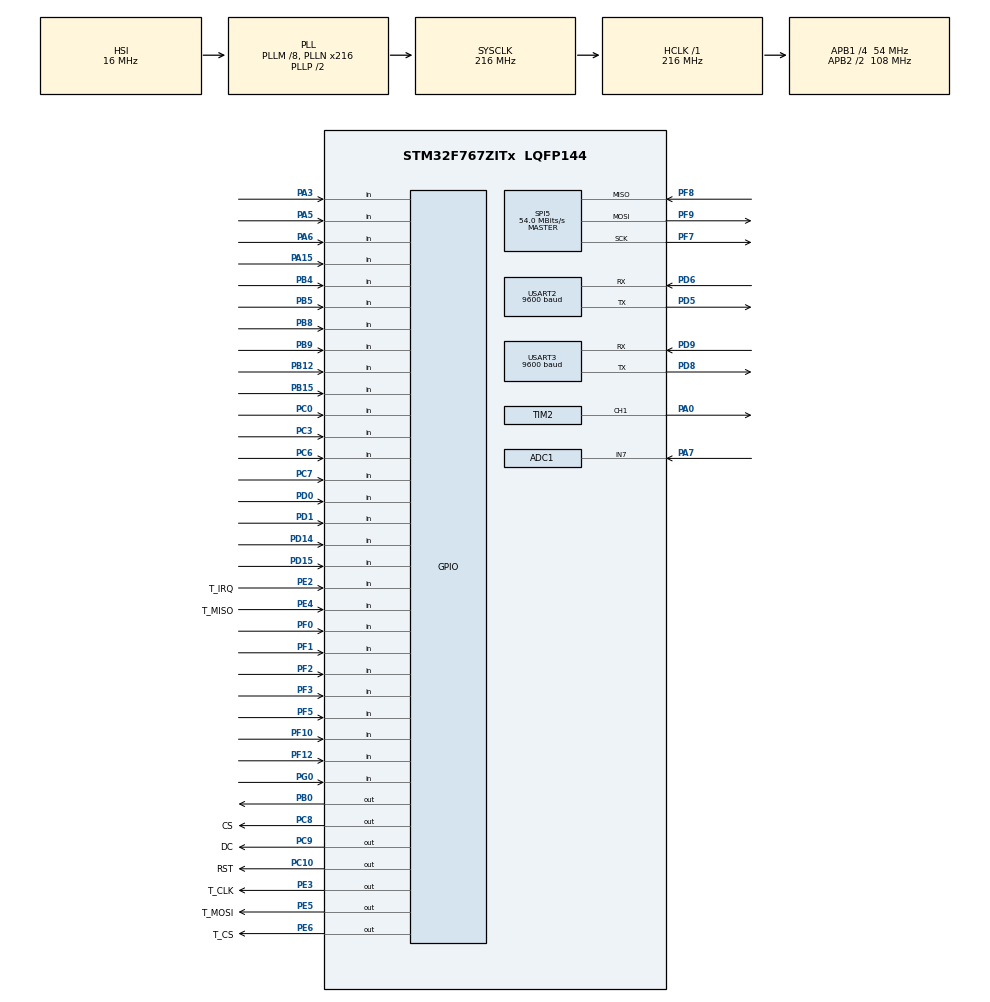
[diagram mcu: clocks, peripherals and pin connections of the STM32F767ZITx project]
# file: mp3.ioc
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ADC1.Channel-1\#ChannelRegularConversion=ADC_CHANNEL_7
ADC1.EOCSelection=ADC_EOC_SEQ_CONV
ADC1.NbrOfConversionFlag=1
ADC1.Rank-1\#ChannelRegularConversion=1
ADC1.SamplingTime-1\#ChannelRegularConversion=ADC_SAMPLETIME_3CYCLES
ADC1.master=1
CORTEX_M7.default_mode_Activation=1
Mcu.Family=STM32F7
Mcu.Name=STM32F767ZITx
Mcu.Package=LQFP144
NVIC.PriorityGroup=NVIC_PRIORITYGROUP_2
NVIC.USART2_IRQn=true\:3\:0\:true\:false\:true\:true\:true\:true
NVIC.USART3_IRQn=true\:0\:0\:false\:false\:true\:true\:true\:true
PA0/WKUP.Signal=S_TIM2_CH1_ETR
PA15.Signal=GPIO_Input
PA3.GPIO_PuPd=GPIO_NOPULL
PA3.Signal=GPIO_Input
PA5.Signal=GPIO_Input
PA6.Signal=GPIO_Input
PA7.Signal=ADCx_IN7
PB0.Signal=GPIO_Output
PB12.Signal=GPIO_Input
PB15.Signal=GPIO_Input
PB4.Signal=GPIO_Input
PB5.Signal=GPIO_Input
PB8.Signal=GPIO_Input
PB9.Signal=GPIO_Input
PC0.Signal=GPIO_Input
PC10.GPIO_Label=RST
PC10.Signal=GPIO_Output
PC3.Signal=GPIO_Input
PC6.Signal=GPIO_Input
PC7.Signal=GPIO_Input
PC8.GPIO_Label=CS
PC8.Signal=GPIO_Output
PC9.GPIO_Label=DC
PC9.Signal=GPIO_Output
PD0.Signal=GPIO_Input
PD1.Signal=GPIO_Input
PD14.Signal=GPIO_Input
PD15.Signal=GPIO_Input
PD5.Mode=Asynchronous
PD5.Signal=USART2_TX
PD6.Mode=Asynchronous
PD6.Signal=USART2_RX
PD8.Mode=Asynchronous
PD8.Signal=USART3_TX
PD9.Mode=Asynchronous
PD9.Signal=USART3_RX
PE2.GPIO_Label=T_IRQ
PE2.Signal=GPIO_Input
PE3.GPIO_Label=T_CLK
PE3.Signal=GPIO_Output
PE4.GPIO_Label=T_MISO
PE4.Signal=GPIO_Input
PE5.GPIO_Label=T_MOSI
PE5.Signal=GPIO_Output
PE6.GPIO_Label=T_CS
PE6.Signal=GPIO_Output
PF0.Signal=GPIO_Input
PF1.Signal=GPIO_Input
PF10.Signal=GPIO_Input
PF12.Signal=GPIO_Input
PF2.Signal=GPIO_Input
PF3.Signal=GPIO_Input
PF5.Signal=GPIO_Input
PF7.Mode=Full_Duplex_Master
PF7.Signal=SPI5_SCK
PF8.Mode=Full_Duplex_Master
PF8.Signal=SPI5_MISO
PF9.Mode=Full_Duplex_Master
PF9.Signal=SPI5_MOSI
PG0.Signal=GPIO_Input
ProjectManager.HeapSize=0x200
ProjectManager.StackSize=0x400
ProjectManager.TargetToolchain=STM32CubeIDE
RCC.AHBFreq_Value=216000000
RCC.APB1CLKDivider=RCC_HCLK_DIV4
RCC.APB1Freq_Value=54000000
RCC.APB1TimFreq_Value=108000000
RCC.APB2CLKDivider=RCC_HCLK_DIV2
RCC.APB2Freq_Value=108000000
RCC.APB2TimFreq_Value=216000000
RCC.CortexFreq_Value=216000000
RCC.HCLKFreq_Value=216000000
RCC.HSE_VALUE=25000000
RCC.HSI_VALUE=16000000
RCC.LSE_VALUE=32768
RCC.PLLM=8
RCC.PLLN=216
RCC.SYSCLKFreq_VALUE=216000000
RCC.SYSCLKSource=RCC_SYSCLKSOURCE_PLLCLK
RCC.USBFreq_Value=216000000
RCC.VCOOutputFreq_Value=432000000
SH.ADCx_IN7.0=ADC1_IN7,IN7
SH.S_TIM2_CH1_ETR.0=TIM2_CH1,PWM Generation1 CH1
SPI5.CalculateBaudRate=54.0 MBits/s
SPI5.DataSize=SPI_DATASIZE_8BIT
SPI5.Direction=SPI_DIRECTION_2LINES
SPI5.Mode=SPI_MODE_MASTER
SPI5.VirtualType=VM_MASTER
TIM1.ClockDivision=TIM_CLOCKDIVISION_DIV2
TIM1.Period=10000-1
TIM1.Prescaler=10000-1
TIM2.Channel-PWM\ Generation1\ CH1=TIM_CHANNEL_1
TIM2.Period=1000-1
TIM2.Prescaler=108-1
TIM2.Pulse-PWM\ Generation1\ CH1=1000/4-1
USART2.BaudRate=9600
USART2.VirtualMode-Asynchronous=VM_ASYNC
USART3.BaudRate=9600
USART3.VirtualMode-Asynchronous=VM_ASYNC
VP_TIM1_VS_ClockSourceINT.Mode=Internal
VP_TIM2_VS_ClockSourceINT.Mode=Internal
board=custom

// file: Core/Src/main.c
/* USER CODE BEGIN Header */
/**
  ******************************************************************************
  * @file           : main.c
  * @brief          : Main program body
  ******************************************************************************
  * @attention
  *
  * Copyright (c) 2025 STMicroelectronics.
  * All rights reserved.
  *
  * This software is licensed under terms that can be found in the LICENSE file
  * in the root directory of this software component.
  * If no LICENSE file comes with this software, it is provided AS-IS.
  *
  ******************************************************************************
  */
/* USER CODE END Header */
#include "main.h"

/* USER CODE BEGIN Includes */
#include <stdio.h>
#include <string.h>
#include "ILI9341_Touchscreen.h"
#include "ILI9341_STM32_Driver.h"
#include "ILI9341_GFX.h"
/* USER CODE END Includes */

/* USER CODE BEGIN PTD */
typedef struct {
    GPIO_TypeDef *port;
    uint16_t pin;
    uint16_t file;  // MP3 file/command value
    uint16_t alphabet;
} GPIO_Config_t;

typedef struct {
    const char *alphabet;  // Word as a string (e.g., "APPLE")
    uint16_t file;         // MP3 file value
    uint8_t length;        // Length of the word
} Vocab_t;

#define NUM_GPIO_CONFIGS (sizeof(gpio_configs) / sizeof(gpio_configs[0]))
#define NUM_VOCAB (sizeof(vocab) / sizeof(vocab[0]))
#define MUSIC_FOLDER 0x0400  // Base folder value
#define NUM_FILES 9
/* USER CODE END PTD */

/* USER CODE BEGIN PD */
#define SCREEN_WIDTH  240
#define SCREEN_HEIGHT 320
volatile uint8_t playback_finished = 0;
volatile uint8_t current_command = 0;
volatile uint16_t current_file = 0;
volatile uint8_t is_playing = 0;

uint8_t current_volume = 25; // ระดับเริ่มต้น (0-30)
uint32_t last_volume_check = 0; // เวลาล่าสุดที่ตรวจสอบ VR

/* USER CODE END PD */

/* USER CODE BEGIN PM */

const GPIO_Config_t gpio_configs[] = {
		{GPIOA, GPIO_PIN_3,  0x0101, 'A'},
		{GPIOC, GPIO_PIN_0,  0x0102, 'B'},
		{GPIOC, GPIO_PIN_3,  0x0103, 'C'},
		{GPIOF, GPIO_PIN_3,  0x0104, 'D'},
		{GPIOF, GPIO_PIN_5,  0x0105, 'E'},
		{GPIOF, GPIO_PIN_10, 0x0106, 'F'},
		{GPIOF, GPIO_PIN_2,  0x0107, 'G'},
		{GPIOF, GPIO_PIN_1,  0x0108, 'H'},
		{GPIOF, GPIO_PIN_0,  0x0109, 'I'},
		{GPIOD, GPIO_PIN_0,  0x010A, 'J'}, // แก้จาก 0x01A0
		{GPIOD, GPIO_PIN_1,  0x010B, 'K'}, // แก้จาก 0x0112
		{GPIOG, GPIO_PIN_0,  0x010C, 'L'}, // แก้จาก 0x0113
		{GPIOC, GPIO_PIN_6,  0x010D, 'M'}, // แก้จาก 0x0114
		{GPIOB, GPIO_PIN_15, 0x010E, 'N'}, // แก้จาก 0x0115
		{GPIOB, GPIO_PIN_12, 0x010F, 'O'}, // แก้จาก 0x0120
		{GPIOA, GPIO_PIN_15, 0x0110, 'P'}, // แก้จาก 0x0121
		{GPIOC, GPIO_PIN_7,  0x0111, 'Q'}, // แก้จาก 0x0121
		{GPIOB, GPIO_PIN_5,  0x0112, 'R'}, // แก้จาก 0x0122
		{GPIOB, GPIO_PIN_4,  0x0113, 'S'}, // แก้จาก 0x0123
		{GPIOB, GPIO_PIN_8,  0x0114, 'T'}, // แก้จาก 0x0124
		{GPIOB, GPIO_PIN_9,  0x0115, 'U'}, // แก้จาก 0x0125
		{GPIOA, GPIO_PIN_5,  0x0116, 'V'}, // แก้จาก 0x0126
		{GPIOA, GPIO_PIN_6,  0x0117, 'W'}, // แก้จาก 0x0127
		{GPIOD, GPIO_PIN_14, 0x0118, 'X'}, // แก้จาก 0x0128
		{GPIOD, GPIO_PIN_15, 0x0119, 'Y'}, // แก้จาก 0x0129
		{GPIOF, GPIO_PIN_12, 0x011A, 'Z'}
};

const Vocab_t vocab[] = {
    {"APPLE",    0x0201, 5}, {"FAMILY",  0x0202, 6}, {"FISH",    0x0203, 4},
    {"GOAT",    0x0204, 4}, {"HOME",    0x0205, 4}, {"LION",    0x0206, 4},
    {"MESSAGE", 0x0207, 7}, {"MOON",    0x0208, 4}, {"SOCIETY", 0x0209, 7},
    {"THEMOON", 0x020A, 7}
};
/* USER CODE END PM */

ADC_HandleTypeDef hadc1;

SPI_HandleTypeDef hspi5;

TIM_HandleTypeDef htim1;
TIM_HandleTypeDef htim2;

UART_HandleTypeDef huart2;
UART_HandleTypeDef huart3;

/* USER CODE BEGIN PV */
uint8_t mode = 0;
uint8_t prev_mode = 0;
uint32_t adc_value;

/* USER CODE END PV */

void SystemClock_Config(void);
static void MPU_Config(void);
static void MX_GPIO_Init(void);
static void MX_USART2_UART_Init(void);
static void MX_USART3_UART_Init(void);
static void MX_SPI5_Init(void);
static void MX_TIM1_Init(void);
static void MX_TIM2_Init(void);
static void MX_ADC1_Init(void);
/* USER CODE BEGIN PFP */
//char Get_Triggered_Letter(void);
void Draw_Project_Name(void);
void Update_Screen(void);
void Draw_Volume(void);
char Get_Triggered_Letter(uint16_t coordinates[2]);
void Adjust_Volume(void);
void AZ_Sound(uint16_t coordinates[2]);
void LISTEN_Sound(uint16_t coordinates[2]);
void VOCAB_Sound(uint16_t coordinates[2]);
void MUSIC_Sound(uint16_t coordinates[2]);
/* USER CODE END PFP */

/* USER CODE BEGIN 0 */
void print(const char* msg) {
    HAL_UART_Transmit(&huart3, (uint8_t*)msg, strlen(msg), HAL_MAX_DELAY);
}

void Adjust_Volume(void) {
    char message[50];
    uint32_t adc_value;
    static uint32_t last_adc_value = 0;

    HAL_ADC_Start(&hadc1);
    if (HAL_ADC_PollForConversion(&hadc1, 100) == HAL_OK) {
        adc_value = HAL_ADC_GetValue(&hadc1);

        // กรองค่า ADC ด้วย Moving Average (เฉลี่ยกับค่าก่อนหน้า)
        adc_value = (adc_value + last_adc_value) / 2;
        last_adc_value = adc_value;

        // แมปค่า ADC (0-4095) เป็นระดับเสียง (6-30)
        uint8_t new_volume = 6 + (adc_value * (30 - 6)) / 4095;

        // Debug ค่า ADC และระดับเสียง
//        sprintf(message, "ADC Value: %lu, New Volume: %d\r\n", adc_value, new_volume);
//        print(message);

        // อัปเดตเฉพาะเมื่อระดับเปลี่ยนเกิน 1 หน่วย เพื่อลดการส่งคำสั่งบ่อย
        if (abs(new_volume - current_volume) > 1) {
            MP3_SendCommand(0x06, new_volume);
            current_volume = new_volume;
            sprintf(message, "Volume adjusted to: %d\r\n", new_volume);
            print(message);
        }
    } else {
        print("ADC Poll Error\r\n");
    }
    HAL_ADC_Stop(&hadc1);
}

void Draw_Project_Name() {
	  ILI9341_Fill_Screen(BLACK);
	  ILI9341_Draw_Text("SMART", 10, 40, WHITE, 5, BLACK);
	  ILI9341_Draw_Text("ALPHABET", 10, 90, WHITE, 5, BLACK);
	  ILI9341_Draw_Text("MUSIC BOX", 10, 140, WHITE, 5, BLACK);
	  HAL_Delay(2000);
	  ILI9341_Fill_Screen(BLACK);
}

void Draw_All_Mode(){
	ILI9341_Fill_Screen(BLACK);

	ILI9341_Draw_Text("Select Mode ",65, 20, BLACK, 2, WHITE);

	ILI9341_Draw_Filled_Rectangle_Coord(10, 60, 120, 135, WHITE);
	ILI9341_Draw_Text("A-Z", 45, 85, BLACK, 2, WHITE);

	ILI9341_Draw_Filled_Rectangle_Coord(10, 150, 120, 230, WHITE);
	ILI9341_Draw_Text("listen", 30, 175, BLACK, 2, WHITE);

	ILI9341_Draw_Filled_Rectangle_Coord(140, 60, 250, 135, WHITE);
	ILI9341_Draw_Text("Vocab", 160, 85, BLACK, 2, WHITE);

	ILI9341_Draw_Filled_Rectangle_Coord(140, 150, 250, 230, WHITE);
	ILI9341_Draw_Text("MUSIC", 160, 175, BLACK, 2, WHITE);

	char mode_msg[20];
	sprintf(mode_msg, "Mode: %d", mode);
	ILI9341_Draw_Text(mode_msg, 10, 10, YELLOW, 1, BLACK);
}

//// Function to check if touch is within rectangle
//uint8_t Is_Touch_In_Rectangle(uint16_t x1, uint16_t y1, uint16_t x2, uint16_t y2, uint16_t touch_x, uint16_t touch_y) {
//    return (touch_x >= x1 && touch_x <= x2 && touch_y >= y1 && touch_y <= y2);
//}

uint8_t Is_Touch_Inside_Rectangle(uint16_t xpos, uint16_t ypos,
                                  uint16_t x_min, uint16_t x_max,
                                  uint16_t y_min, uint16_t y_max) {
    return (xpos >= x_min && xpos <= x_max && ypos > y_min && ypos <= y_max);
}

void Check_Touch() {
	uint16_t Coordinates[2];
    uint16_t x, y;
    char message[50];

    // Get touch coordinates (Assuming TS_GetTouch returns 1 if touched)
    if (TP_Read_Coordinates(Coordinates) == TOUCHPAD_DATA_OK) {
        uint16_t x = Coordinates[1];
        uint16_t y = 250 - Coordinates[0];

//        sprintf(message, "Touch detected at X: %d, Y: %d \n\r", x, y);
//        print(message);  // Debugging output

    }
}

//void AZ_Sound(){
////	print("check in AZ_Sound\r\n");
//	char message[50];
//	    for (uint32_t i = 0; i < NUM_GPIO_CONFIGS; i++) {
//	        if (HAL_GPIO_ReadPin(gpio_configs[i].port, gpio_configs[i].pin) == 0) {
//	            MP3_SendCommand(0x0F, gpio_configs[i].file);  // Send command with file value
//	            sprintf(message,"%c\r\n",gpio_configs[i].alphabet);
//	            print(message);
//	            HAL_Delay(100);  // Debounce delay (adjust as needed)
//	        }
//	    }
//
//}
void AZ_Sound(uint16_t coordinates[2]) {
    char message[50];
    static GPIO_PinState prev_states[NUM_GPIO_CONFIGS] = {GPIO_PIN_SET};

    while (mode == 1) {
    	Select_Sreen(coordinates); // ตรวจจับการสัมผัส
		if (mode != 1) break; // ออกทันทีถ้าโหมดเปลี่ยน

		if (HAL_GetTick() - last_volume_check > 500) {
			Adjust_Volume();
			last_volume_check = HAL_GetTick();
		}

        for (uint32_t i = 0; i < NUM_GPIO_CONFIGS; i++) {
            GPIO_PinState current_state = HAL_GPIO_ReadPin(gpio_configs[i].port, gpio_configs[i].pin);
            if (current_state == GPIO_PIN_RESET && prev_states[i] == GPIO_PIN_SET) {
                MP3_SendCommand(0x0F, gpio_configs[i].file);
                sprintf(message, "Playing %c (0x%04X)\r\n", gpio_configs[i].alphabet, gpio_configs[i].file);
                print(message);
                MP3_WaitForPlayback();
//                HAL_Delay(300); // Debounce
            }
            prev_states[i] = current_state;
        }
        HAL_Delay(50); // ลดการใช้งาน CPU
    }
}
////
//void AZ_Sound(void) {
//    char message[50];
//    static GPIO_PinState prev_states[NUM_GPIO_CONFIGS] = {GPIO_PIN_SET}; // สถานะก่อนหน้าเริ่มต้นเป็น HIGH
//
//    while (mode == 1) {
//        uint8_t button_pressed = 0;
//
//        // วนลูปตรวจสอบทุกปุ่ม
//        for (uint32_t i = 0; i < NUM_GPIO_CONFIGS; i++) {
//            GPIO_PinState current_state = HAL_GPIO_ReadPin(gpio_configs[i].port, gpio_configs[i].pin);
//
//            // ตรวจจับขอบลง: จาก HIGH (SET) ไป LOW (RESET)
//            if (current_state == GPIO_PIN_RESET && prev_states[i] == GPIO_PIN_SET) {
//                button_pressed = 1;
//
//                // Debug เพื่อยืนยันการตรวจจับขอบลง
//                sprintf(message, "Falling Edge: %c (Prev: %d, Now: %d)\r\n",
//                        gpio_configs[i].alphabet, prev_states[i], current_state);
//                print(message);
//
//                // เล่นไฟล์ MP3
//                MP3_SendCommand(0x0F, gpio_configs[i].file);
//                sprintf(message, "OK - Playing %c (0x%04X)\r\n",
//                        gpio_configs[i].alphabet, gpio_configs[i].file);
//                print(message);
//
//                // รอให้เล่นจบ
//                MP3_WaitForPlayback();
////                print("Playback ended\r\n");
//
//                // Debounce delay เพื่อป้องกันการกดซ้ำจากสัญญาณรบกวน
//                HAL_Delay(200); // ปรับตามความเหมาะสม (เช่น 100-300 ms)
//            }
//
//            // อัปเดตสถานะก่อนหน้าสำหรับรอบถัดไป
//            prev_states[i] = current_state;
//        }
//
//        // ถ้าไม่มีปุ่มถูกกด
//        if (!button_pressed) {
//            sprintf(message, "No button pressed, waiting...\r\n");
//            print(message);
//        }
//
//        HAL_Delay(50); // ลด delay เพื่อให้การตอบสนองเร็วขึ้น (เดิม 100 ms)
//    }
//}

// ฟังก์ชันรอให้เพลงเล่นเสร็จ
void MP3_WaitForPlayback(void) {
    char message[50];
    uint32_t timeout = HAL_GetTick() + 300; // Timeout 5 วินาที

    while (!playback_finished && is_playing && (HAL_GetTick() < timeout)) {
        HAL_Delay(20);
    }

    if (HAL_GetTick() >= timeout) {
        sprintf(message, "Timeout waiting for playback (File: 0x%04X)\r\n", current_file);
        print(message);
    } else if (playback_finished) {
        print("Playback finished normally\r\n");
    }

    playback_finished = 0;
    is_playing = 0;
}
//void LISTEN_Sound(uint16_t coordinates[2]) {
//    char message[50];
//    while (mode == 2) {
//    	Select_Sreen(coordinates);
//		if (mode != 2) break;
//        // Select a random sound
//        uint32_t rand_idx = rand() % NUM_GPIO_CONFIGS;
//        char expected_letter = gpio_configs[rand_idx].alphabet;
//        uint16_t sound_file = gpio_configs[rand_idx].file;
//
//        // Play the random sound
//        HAL_Delay(400);
//        MP3_SendCommand(0x0F, sound_file);
//        sprintf(message, "Playing: %c\r\n", expected_letter);
//        print(message);
//        HAL_Delay(1000);
//        // Wait for user input
//        char triggered_letter = '\0';
//        do {
//        	Select_Sreen(coordinates);
//			if (mode != 2) return;
//			char triggered_letter = Get_Triggered_Letter(coordinates);
//        } while (triggered_letter == '\0');  // Wait until a button is pressed
////        	Select_Sreen(coordinates);
////        	if (mode != 2) return;
//
//        // Check if correct
//        if (triggered_letter == expected_letter) {
//        	HAL_Delay(1000);
//        	MP3_SendCommand(0x0F, 0x0301);
//        	HAL_Delay(1000);
//            sprintf(message, "Correct: %c\r\n", triggered_letter);
//            print(message);
//            break;  // Pause before next sound
//        } else {
//            sprintf(message, "Wrong: Expected %c, Got %c\r\n", expected_letter, triggered_letter);
//            print(message);
//            HAL_Delay(800);
//            MP3_SendCommand(0x0F, 0x0304);
//            HAL_Delay(800);
//            break;
//        }
//    }
//}

void LISTEN_Sound(uint16_t coordinates[2]) {
    char message[50];

    while (mode == 2) {
        Select_Sreen(coordinates);
        if (mode != 2) return;

        if (HAL_GetTick() - last_volume_check > 500) {
            Adjust_Volume();
            last_volume_check = HAL_GetTick();
        }

        uint32_t rand_idx = rand() % NUM_GPIO_CONFIGS;
        char expected_letter = gpio_configs[rand_idx].alphabet;
        uint16_t sound_file = gpio_configs[rand_idx].file;

        HAL_Delay(400);
        MP3_SendCommand(0x0F, sound_file);
        sprintf(message, "Playing: %c\r\n", expected_letter);
        print(message);
        HAL_Delay(1000);

        char triggered_letter = Get_Triggered_Letter(coordinates); // ส่ง coordinates
        if (triggered_letter == '\0') {
            continue; // ถ้าโหมดเปลี่ยน ข้ามไปรอบถัดไป
        }

        if (triggered_letter == expected_letter) {
            HAL_Delay(1000);
            MP3_SendCommand(0x0F, 0x0301);
            sprintf(message, "Correct: %c\r\n", triggered_letter);
            print(message);
        } else {
            sprintf(message, "Wrong: Expected %c, Got %c\r\n", expected_letter, triggered_letter);
            print(message);
            HAL_Delay(800);
            MP3_SendCommand(0x0F, 0x0304);
            HAL_Delay(800);
        }
        HAL_Delay(1000);
    }
}

//char Get_Triggered_Letter(uint16_t coordinates[2]) {
//    char message[50];
//    static GPIO_PinState prev_states[NUM_GPIO_CONFIGS] = {GPIO_PIN_SET};
//
//    if (mode != 2 && mode != 3) {
//            return '\0'; // ออกทันทีถ้าไม่ใช่โหมดที่ต้องการ
//        }
//
//        // วนลูปเพื่อรอปุ่มถูกกด
//        while (mode == 2 || mode == 3) {
//            Select_Sreen(coordinates); // ตรวจจับการสัมผัสเพื่อเปลี่ยนโหมด
//            if (mode != 2 && mode != 3) {
//                return '\0'; // ออกถ้าโหมดเปลี่ยน
//            }
//        for (uint32_t i = 0; i < NUM_GPIO_CONFIGS; i++) {
//            GPIO_PinState current_state = HAL_GPIO_ReadPin(gpio_configs[i].port, gpio_configs[i].pin);
//            if (current_state == GPIO_PIN_RESET && prev_states[i] == GPIO_PIN_SET) { // ขอบลง
//                HAL_Delay(30); // Debounce
//                MP3_SendCommand(0x0F, gpio_configs[i].file);
//                sprintf(message, "User pressed: %c (0x%04X)\r\n", gpio_configs[i].alphabet, gpio_configs[i].file);
//                print(message);
//                MP3_WaitForPlayback();
//                prev_states[i] = current_state;
//                return gpio_configs[i].alphabet;
//            }
//            prev_states[i] = current_state;
//        }
//        HAL_Delay(50);
//    }
//    return '\0'; // ไม่ควรถึงจุดนี้
//}

char Get_Triggered_Letter(uint16_t coordinates[2]) {
    char message[50];
    static GPIO_PinState prev_states[NUM_GPIO_CONFIGS] = {GPIO_PIN_SET};

    // ทำงานเฉพาะโหมด 2 (Listen) หรือ 3 (Vocab)
    if (mode != 2 && mode != 3) {
        return '\0'; // ออกทันทีถ้าไม่ใช่โหมดที่ต้องการ
    }

    // วนลูปเพื่อรอปุ่มถูกกด
    while (mode == 2 || mode == 3) {
        Select_Sreen(coordinates); // ตรวจจับการสัมผัสเพื่อเปลี่ยนโหมด
        if (mode != 2 && mode != 3) {
            return '\0'; // ออกถ้าโหมดเปลี่ยน
        }

        for (uint32_t i = 0; i < NUM_GPIO_CONFIGS; i++) {
            GPIO_PinState current_state = HAL_GPIO_ReadPin(gpio_configs[i].port, gpio_configs[i].pin);
            if (current_state == GPIO_PIN_RESET && prev_states[i] == GPIO_PIN_SET) { // ขอบลง
                HAL_Delay(30); // Debounce
                MP3_SendCommand(0x0F, gpio_configs[i].file);
                sprintf(message, "User pressed: %c (0x%04X)\r\n", gpio_configs[i].alphabet, gpio_configs[i].file);
                print(message);
                MP3_WaitForPlayback();
                prev_states[i] = current_state;
                return gpio_configs[i].alphabet; // คืนค่าตัวอักษรที่กด
            }
            prev_states[i] = current_state;
        }
        HAL_Delay(20); // ลดจาก 50 เป็น 20 ms เพื่อการตอบสนองเร็วขึ้น
    }

    return '\0'; // คืนค่า null ถ้าโหมดเปลี่ยนก่อนกดปุ่ม
}

//void VOCAB_Sound(uint16_t coordinates[2]) {
//    while (mode == 3) {
//    	Select_Sreen(coordinates);
//		if (mode != 3) break;
//
//		if (HAL_GetTick() - last_volume_check > 500) {
//			Adjust_Volume();
//			last_volume_check = HAL_GetTick();
//		}
//        // Select random word
//        uint32_t rand_idx = rand() % NUM_VOCAB;
//        const Vocab_t *current_word = &vocab[rand_idx];
//
//        MP3_SendCommand(0x0F, current_word->file);
//        print("Playing word: ");
//        print(current_word->alphabet);
//        print("\r\n");
//
//        // Wait for user to spell the word
//        for (uint8_t i = 0; i < current_word->length; i++) {
//            char expected_letter = current_word->alphabet[i];
//            char message[50];
//
//            // Show current letter position
//            sprintf(message, "Letter %d: Press '%c'", i + 1, expected_letter);
//            print(message);
//
////          Draw_Centered_Text(message, 100, WHITE, 2, BLACK);
//
//            // Wait for input
//            char triggered_letter = '\0';
//            do {
//            	Select_Sreen(coordinates);
//				if (mode != 3) return;
//				char triggered_letter = Get_Triggered_Letter(coordinates);
//            } while (triggered_letter == '\0');
//
//            // Check if correct
//            if (triggered_letter == expected_letter) {
//            	char message[50];
//            	sprintf(message," %c : ",triggered_letter);
//            	print(message);
//                print("trig correct\r\n");
//                HAL_Delay(500);
//                MP3_SendCommand(0x0F, 0x0301);
//            } else {
//            	char message[50];
//				sprintf(message," %c : ",triggered_letter);
//				print(message);
////                print("Wrong input, restarting...\r\n");
//				HAL_Delay(500);
//                MP3_SendCommand(0x0F, 0x0304);
//                HAL_Delay(1000);
//            	MP3_SendCommand(0x0F, 0x0303);
//            	HAL_Delay(900);
//                break;  // Exit loop on wrong input
//            }
//
//            // If last letter, show success
//            if (i == current_word->length - 1) {
//            	MP3_SendCommand(0x0F, 0x0302);
//                print("all correct");
//                HAL_Delay(3000);
//                break;
//            }
//        }
//    }
//}

void VOCAB_Sound(uint16_t coordinates[2]) {
    char message[50];

    while (mode == 3) {
        Select_Sreen(coordinates);
        if (mode != 3) return;

        if (HAL_GetTick() - last_volume_check > 500) {
            Adjust_Volume();
            last_volume_check = HAL_GetTick();
        }

        uint32_t rand_idx = rand() % NUM_VOCAB;
        const Vocab_t *current_word = &vocab[rand_idx];

        MP3_SendCommand(0x0F, current_word->file);
        sprintf(message, "Playing word: %s\r\n", current_word->alphabet);
        print(message);

        for (uint8_t i = 0; i < current_word->length; i++) {
            char expected_letter = current_word->alphabet[i];
            sprintf(message, "Letter %d: Press '%c'\r\n", i + 1, expected_letter);
            print(message);

            char triggered_letter = Get_Triggered_Letter(coordinates); // ส่ง coordinates
            if (triggered_letter == '\0') {
                return; // ออกถ้าโหมดเปลี่ยน
            }

            if (triggered_letter == expected_letter) {
                sprintf(message, " %c : trig correct\r\n", triggered_letter);
                print(message);
                HAL_Delay(500);
                MP3_SendCommand(0x0F, 0x0301);
                if (i == current_word->length - 1) {
                    MP3_SendCommand(0x0F, 0x0302);
                    print("All correct\r\n");
                    HAL_Delay(3000);
                }
            } else {
                sprintf(message, " %c : Wrong input\r\n", triggered_letter);
                print(message);
                HAL_Delay(500);
                MP3_SendCommand(0x0F, 0x0304);
                HAL_Delay(1000);
                MP3_SendCommand(0x0F, 0x0303);
                HAL_Delay(900);
                break;
            }
        }
        HAL_Delay(1000);
    }
}

int Get_Triggered_Index(void) {
    static GPIO_PinState prev_states[NUM_GPIO_CONFIGS] = {GPIO_PIN_SET};
    int triggered_index = -1;

    for (uint32_t i = 0; i < NUM_GPIO_CONFIGS; i++) {
        GPIO_PinState current_state = HAL_GPIO_ReadPin(gpio_configs[i].port, gpio_configs[i].pin);
        if (current_state == GPIO_PIN_RESET && prev_states[i] == GPIO_PIN_SET) {
            HAL_Delay(300);  // Debounce
            triggered_index = i;
            break;  // Exit after first trigger
        }
        prev_states[i] = current_state;
    }
    return triggered_index;  // -1 if no trigger
}

void MUSIC_Sound(uint16_t coordinates[2]) {
    char message[50];

    while (mode == 4) {
        Select_Sreen(coordinates);
		if (mode != 4) break;
		if (HAL_GetTick() - last_volume_check > 500) {
				Adjust_Volume();
				last_volume_check = HAL_GetTick();
			}
        int triggered_index = Get_Triggered_Index();

        if (triggered_index != -1) {
            // คำนวณหมายเลขไฟล์จาก MUSIC_FOLDER (0x0401 ถึง 0x041A)
            uint16_t file_num = MUSIC_FOLDER + (triggered_index + 1);
            MP3_SendCommand(0x0F, file_num);

            // แสดงข้อมูลการเล่น
            sprintf(message, "Playing file: 0x%04X (%c, Index %d), current_command: 0x%02X\r\n",
                    file_num, gpio_configs[triggered_index].alphabet, triggered_index, current_command);
            print(message);

            // รอให้ไฟล์เล่นเสร็จ
            MP3_WaitForPlayback();
            HAL_Delay(300); // Debounce
        } else {
            print("No button pressed, waiting...\r\n");
            HAL_Delay(100);
        }
    }
}

// Function to send a command and get response from MP3 module

uint8_t MP3_GetStatus(void) {

    uint8_t rx_buffer[10] = {0};

    // Send query command (0x42 for current status)
    uint8_t buffer[10] = {0x7E, 0xFF, 0x06, 0x42, 0x00, 0x00, 0x00, 0x00, 0x00, 0xEF};
    uint16_t checksum = -(0xFF + 0x06 + 0x42 + 0x00 + 0x00 + 0x00);
    buffer[7] = (checksum >> 8) & 0xFF;
    buffer[8] = checksum & 0xFF;
    HAL_UART_Transmit(&huart2, buffer, 10, 100);

    // Wait for response
    if (HAL_UART_Receive(&huart2, rx_buffer, 10, 500) == HAL_OK) {
        if (rx_buffer[0] == 0x7E && rx_buffer[9] == 0xEF) {
            return rx_buffer[6];  // Status byte (0x01 = Playing, 0x02 = Stopped)
        } else {
            print("Invalid MP3 response\r\n");
        }
    } else {
        print("No response from MP3 module\r\n");
    }
//    return 0xFF;  // Error code
}
void HAL_UART_RxCpltCallback(UART_HandleTypeDef *huart) {
    if (huart == &huart2) {
        static uint8_t rx_buffer[10];
        if (HAL_UART_Receive_IT(&huart2, rx_buffer, 10) == HAL_OK) {
            if (rx_buffer[3] == 0x3E) { // Playback finished
                playback_finished = 1;
                is_playing = 0;
                print("Playback finished (Feedback 0x3E)\r\n");
            }
        }
    }
}

// Function to send a command to the MP3 module
//void MP3_SendCommand(uint8_t command, uint16_t parameter) {
//	print("check in MP3_SendCommand\r\n");
//	uint8_t status = MP3_GetStatus();
//	    if (status == 0x01) {  // Playing
//	        print("MP3 is already playing, skipping command\r\n");
//	        return;  // Don't send the command
//	    } else if (status == 0xFF) {
//	        print("Failed to get MP3 status, proceeding anyway\r\n");
//	    }
//
//    uint8_t buffer[10] = {0x7E, 0xFF, 0x06, command, 0x00, 0x00, 0x00, 0x00, 0x00, 0xEF};
//    uint16_t checksum;
//
//    // Set parameter (e.g., track number)
//    buffer[5] = (parameter >> 8) & 0xFF; // High byte
//    buffer[6] = parameter & 0xFF;        // Low byte
//
//    // Calculate checksum
//    checksum = -(0xFF + 0x06 + command + 0x00 + buffer[5] + buffer[6]);
//    buffer[7] = (checksum >> 8) & 0xFF;  // High byte
//    buffer[8] = checksum & 0xFF;         // Low byte
//
//    // Send the command via UART
//    HAL_UART_Transmit(&huart2, buffer, 10, 100);
//}

void MP3_SendCommand(uint8_t command, uint16_t parameter) {
    char message[50];
    sprintf(message, "check in MP3_SendCommand: 0x%02X, Param: 0x%04X\r\n", command, parameter);
    print(message);

    // ตรวจสอบว่ากำลังเล่นอยู่หรือไม่
    if (is_playing) {
        print("MP3 is playing, waiting...\r\n");
        MP3_WaitForPlayback();
    }

    uint8_t buffer[10] = {0x7E, 0xFF, 0x06, command, 0x00, 0x00, 0x00, 0x00, 0x00, 0xEF};
    buffer[5] = (parameter >> 8) & 0xFF;
    buffer[6] = parameter & 0xFF;
    uint16_t checksum = -(0xFF + 0x06 + command + 0x00 + buffer[5] + buffer[6]);
    buffer[7] = (checksum >> 8) & 0xFF;
    buffer[8] = checksum & 0xFF;

    if (HAL_UART_Transmit(&huart2, buffer, 10, 100) == HAL_OK) {
        print("Command sent successfully\r\n");
        current_file = parameter;
        current_command = command;
        playback_finished = 0;
        is_playing = 1;
    } else {
        print("Failed to send command\r\n");
    }
    HAL_Delay(50); // หน่วงเวลาเล็กน้อยเพื่อให้ DFPlayer ประมวลผล
}

//void MP3_SendCommand(uint8_t command, uint16_t parameter) {
//    char message[50];
//    sprintf(message, "Sending Command: 0x%02X, Param: 0x%04X\r\n", command, parameter);
//    print(message);
//
//    // หยุดเพลงเก่าถ้ากำลังเล่นและคำสั่งใหม่เป็น 0x0F
//    if (is_playing && command == 0x0F) {
//        uint8_t stop_buffer[10] = {0x7E, 0xFF, 0x06, 0x0E, 0x00, 0x00, 0x00, 0x00, 0x00, 0xEF};
//        uint16_t stop_checksum = -(0xFF + 0x06 + 0x0E);
//        stop_buffer[7] = (stop_checksum >> 8) & 0xFF;
//        stop_buffer[8] = stop_checksum & 0xFF;
//        HAL_UART_Transmit(&huart2, stop_buffer, 10, 100);
//        print("Stopping previous playback (Command: 0x0E)\r\n");
//        HAL_Delay(50);
//        is_playing = 0;
//    }
//
//    // ส่งคำสั่งใหม่
//    uint8_t buffer[10] = {0x7E, 0xFF, 0x06, command, 0x00, 0x00, 0x00, 0x00, 0x00, 0xEF};
//    buffer[5] = (parameter >> 8) & 0xFF;
//    buffer[6] = parameter & 0xFF;
//    uint16_t checksum = -(0xFF + 0x06 + command + 0x00 + buffer[5] + buffer[6]);
//    buffer[7] = (checksum >> 8) & 0xFF;
//    buffer[8] = checksum & 0xFF;
//
//    if (HAL_UART_Transmit(&huart2, buffer, 10, 100) == HAL_OK) {
//        sprintf(message, "Command sent successfully - current_command: 0x%02X, Param: 0x%04X\r\n",
//                command, parameter);
//        print(message);
//        current_command = command;
//        current_file = parameter;
//        playback_finished = 0;
//        is_playing = (command == 0x0F);
//    } else {
//        print("Failed to send command\r\n");
//    }
//    HAL_Delay(100);
//}

// บัฟเฟอร์รับข้อมูลจาก UART3
uint8_t rx_buffer[10];
uint8_t rx_index = 0;

void Select_Sreen(uint16_t coordinates[2]){
	if (TP_Read_Coordinates(coordinates) == TOUCHPAD_DATA_OK) {
	        char message[50];
	        uint16_t raw_x = coordinates[0]; // X ดิบ
			uint16_t raw_y = coordinates[1]; // Y ดิบ
			uint16_t touch_x = coordinates[1]; // ปรับตามโค้ดเดิม
			uint16_t touch_y = 320 - coordinates[0]; // ปรับตามโค้ดเดิม

			sprintf(message, "Raw X:%d, Raw Y:%d | Adjusted X:%d, Y:%d\r\n", raw_x, raw_y, touch_x, touch_y);
			print(message);

			uint8_t new_mode = mode;
			if (Is_Touch_Inside_Rectangle(touch_x, touch_y, 10, 115, 70, 170)) {
				print("A-Z mode selected\r\n");
				new_mode = 1;
			} else if (Is_Touch_Inside_Rectangle(touch_x, touch_y, 10, 115, 190, 260)) {
				print("Listen mode selected\r\n");
				new_mode = 2;
			} else if (Is_Touch_Inside_Rectangle(touch_x, touch_y, 125, 265, 70, 180)) {
				print("Vocab mode selected\r\n");
				new_mode = 3;
			} else if (Is_Touch_Inside_Rectangle(touch_x, touch_y, 125, 265, 190, 260)) {
				print("Music mode selected\r\n");
				new_mode = 4;
			}

	        // หยุดเพลงถ้าโหมดเปลี่ยน
	        if (new_mode != mode && is_playing) {
	            MP3_SendCommand(0x0E, 0x0000);
//	            print("Stopping playback due to mode change\r\n");
//	            HAL_Delay(50);
	        }
	        mode = new_mode;
	}
}
void Update_Screen(void) {
    // ล้างหน้าจอเป็นสีดำ
//    ILI9341_Fill_Screen(BLACK);

    // วาดข้อความ "Select Mode" ที่ด้านบน
    ILI9341_Draw_Text("Select Mode", 100, 20, WHITE, 2, BLACK);

    // วาดกรอบและข้อความสำหรับแต่ละโหมด
    ILI9341_Draw_Filled_Rectangle_Coord(10, 60, 160, 135, GREEN);
    ILI9341_Draw_Text("A-Z", 65, 85, WHITE, 2.5, GREEN);

    ILI9341_Draw_Filled_Rectangle_Coord(10, 150, 160, 220, PINK);
    ILI9341_Draw_Text("Listen", 45, 175, WHITE, 2.5, PINK);

    ILI9341_Draw_Filled_Rectangle_Coord(170, 60, 330, 135, PURPLE);
    ILI9341_Draw_Text("Vocab", 205, 85, WHITE, 2.5, PURPLE);

    ILI9341_Draw_Filled_Rectangle_Coord(170, 150, 330, 220, WHITE);
    ILI9341_Draw_Text("MUSIC", 202, 175, BLACK, 2.5, WHITE);

    // แสดงโหมดปัจจุบันที่มุมซ้ายบน
    char mode_msg[20];
    sprintf(mode_msg, "Mode: %d", mode);
    ILI9341_Draw_Text(mode_msg, 10, 5, YELLOW, 1, BLACK);
}
/* USER CODE END 0 */

int main(void)
{

  /* MPU Configuration--------------------------------------------------------*/
  MPU_Config();

  /* MCU Configuration--------------------------------------------------------*/

  /* Reset of all peripherals, Initializes the Flash interface and the Systick. */
  HAL_Init();

  /* Configure the system clock */
  SystemClock_Config();

  /* Initialize all configured peripherals */
  MX_GPIO_Init();
  MX_USART2_UART_Init();
  MX_USART3_UART_Init();
  MX_SPI5_Init();
  MX_TIM1_Init();
  MX_TIM2_Init();
  MX_ADC1_Init();
  /* USER CODE BEGIN 2 */
  HAL_UART_Receive_IT(&huart2, (uint8_t[10]){0}, 10);

  ////// LCD
  MP3_SendCommand(0x0C, 0x0000);
  HAL_Delay(500);
   //ปรับเสียง 0-30
//  MP3_SendCommand(0x06,15);
  MP3_SendCommand(0x06,current_volume);
  HAL_Delay(200);

  MP3_SendCommand(0x0F, 0x0501);

  ////// LCD
	ILI9341_Init();
	ILI9341_Set_Rotation(SCREEN_HORIZONTAL_1);  // หมุนหน้าจอเป็นแนวนอน
	ILI9341_Fill_Screen(BLACK); // เติมหน้าจอด้วยสีขาว

	Draw_Project_Name();
	Update_Screen();

  //  Draw_Project_Name();
  //  Draw_All_Mode();
    uint16_t coordinates[2] = {0, 0};

    MP3_SendCommand(0x0F, 0x0501);

  char message[50];
//  mode = 4;

  /* USER CODE END 2 */

  /* Infinite loop */
  while (1)
  {

    /* USER CODE BEGIN 3 */

	  Check_Touch();

//	  MP3_GetStatus();

	  if (HAL_GetTick() - last_volume_check > 50) {
	          Adjust_Volume();
	          last_volume_check = HAL_GetTick();
	      }
	  Select_Sreen(coordinates);
	  if (mode != prev_mode) {
	          Update_Screen();
	          sprintf(message, "Mode changed to: %d\r\n", mode);
	          print(message);
	          prev_mode = mode;
	  }
	  if(mode == 1){

		  AZ_Sound(coordinates);

	  }
	  else if(mode == 2){

		  LISTEN_Sound(coordinates);
	  }
	  else if(mode == 3){

		  VOCAB_Sound(coordinates);

	  }else if(mode == 4){

		  MUSIC_Sound(coordinates);

	  }
//	  else {
////		  print("Idle, waiting for mode selection...\r\n");
//		  HAL_Delay(100);
//	  }
//	  MUSIC_Sound();
//	  HAL_GPIO_TogglePin(GPIOB, GPIO_PIN_0);
//	  HAL_Delay(500);

  }
  /* USER CODE END 3 */
}

void SystemClock_Config(void)
{
  RCC_OscInitTypeDef RCC_OscInitStruct = {0};
  RCC_ClkInitTypeDef RCC_ClkInitStruct = {0};

  /** Configure the main internal regulator output voltage
  */
  __HAL_RCC_PWR_CLK_ENABLE();
  __HAL_PWR_VOLTAGESCALING_CONFIG(PWR_REGULATOR_VOLTAGE_SCALE1);

  /** Initializes the RCC Oscillators according to the specified parameters
  * in the RCC_OscInitTypeDef structure.
  */
  RCC_OscInitStruct.OscillatorType = RCC_OSCILLATORTYPE_HSI;
  RCC_OscInitStruct.HSIState = RCC_HSI_ON;
  RCC_OscInitStruct.HSICalibrationValue = RCC_HSICALIBRATION_DEFAULT;
  RCC_OscInitStruct.PLL.PLLState = RCC_PLL_ON;
  RCC_OscInitStruct.PLL.PLLSource = RCC_PLLSOURCE_HSI;
  RCC_OscInitStruct.PLL.PLLM = 8;
  RCC_OscInitStruct.PLL.PLLN = 216;
  RCC_OscInitStruct.PLL.PLLP = RCC_PLLP_DIV2;
  RCC_OscInitStruct.PLL.PLLQ = 2;
  RCC_OscInitStruct.PLL.PLLR = 2;
  if (HAL_RCC_OscConfig(&RCC_OscInitStruct) != HAL_OK)
  {
    Error_Handler();
  }

  /** Activate the Over-Drive mode
  */
  if (HAL_PWREx_EnableOverDrive() != HAL_OK)
  {
    Error_Handler();
  }

  /** Initializes the CPU, AHB and APB buses clocks
  */
  RCC_ClkInitStruct.ClockType = RCC_CLOCKTYPE_HCLK|RCC_CLOCKTYPE_SYSCLK
                              |RCC_CLOCKTYPE_PCLK1|RCC_CLOCKTYPE_PCLK2;
  RCC_ClkInitStruct.SYSCLKSource = RCC_SYSCLKSOURCE_PLLCLK;
  RCC_ClkInitStruct.AHBCLKDivider = RCC_SYSCLK_DIV1;
  RCC_ClkInitStruct.APB1CLKDivider = RCC_HCLK_DIV4;
  RCC_ClkInitStruct.APB2CLKDivider = RCC_HCLK_DIV2;

  if (HAL_RCC_ClockConfig(&RCC_ClkInitStruct, FLASH_LATENCY_7) != HAL_OK)
  {
    Error_Handler();
  }
}

static void MX_ADC1_Init(void)
{

  ADC_ChannelConfTypeDef sConfig = {0};

  /** Configure the global features of the ADC (Clock, Resolution, Data Alignment and number of conversion)
  */
  hadc1.Instance = ADC1;
  hadc1.Init.ClockPrescaler = ADC_CLOCK_SYNC_PCLK_DIV4;
  hadc1.Init.Resolution = ADC_RESOLUTION_12B;
  hadc1.Init.ScanConvMode = ADC_SCAN_DISABLE;
  hadc1.Init.ContinuousConvMode = DISABLE;
  hadc1.Init.DiscontinuousConvMode = DISABLE;
  hadc1.Init.ExternalTrigConvEdge = ADC_EXTERNALTRIGCONVEDGE_NONE;
  hadc1.Init.ExternalTrigConv = ADC_SOFTWARE_START;
  hadc1.Init.DataAlign = ADC_DATAALIGN_RIGHT;
  hadc1.Init.NbrOfConversion = 1;
  hadc1.Init.DMAContinuousRequests = DISABLE;
  hadc1.Init.EOCSelection = ADC_EOC_SEQ_CONV;
  if (HAL_ADC_Init(&hadc1) != HAL_OK)
  {
    Error_Handler();
  }

  /** Configure for the selected ADC regular channel its corresponding rank in the sequencer and its sample time.
  */
  sConfig.Channel = ADC_CHANNEL_7;
  sConfig.Rank = ADC_REGULAR_RANK_1;
  sConfig.SamplingTime = ADC_SAMPLETIME_3CYCLES;
  if (HAL_ADC_ConfigChannel(&hadc1, &sConfig) != HAL_OK)
  {
    Error_Handler();
  }

}

static void MX_SPI5_Init(void)
{

  /* SPI5 parameter configuration*/
  hspi5.Instance = SPI5;
  hspi5.Init.Mode = SPI_MODE_MASTER;
  hspi5.Init.Direction = SPI_DIRECTION_2LINES;
  hspi5.Init.DataSize = SPI_DATASIZE_8BIT;
  hspi5.Init.CLKPolarity = SPI_POLARITY_LOW;
  hspi5.Init.CLKPhase = SPI_PHASE_1EDGE;
  hspi5.Init.NSS = SPI_NSS_SOFT;
  hspi5.Init.BaudRatePrescaler = SPI_BAUDRATEPRESCALER_2;
  hspi5.Init.FirstBit = SPI_FIRSTBIT_MSB;
  hspi5.Init.TIMode = SPI_TIMODE_DISABLE;
  hspi5.Init.CRCCalculation = SPI_CRCCALCULATION_DISABLE;
  hspi5.Init.CRCPolynomial = 7;
  hspi5.Init.CRCLength = SPI_CRC_LENGTH_DATASIZE;
  hspi5.Init.NSSPMode = SPI_NSS_PULSE_ENABLE;
  if (HAL_SPI_Init(&hspi5) != HAL_OK)
  {
    Error_Handler();
  }

}

static void MX_TIM1_Init(void)
{

  TIM_ClockConfigTypeDef sClockSourceConfig = {0};
  TIM_MasterConfigTypeDef sMasterConfig = {0};

  htim1.Instance = TIM1;
  htim1.Init.Prescaler = 10000-1;
  htim1.Init.CounterMode = TIM_COUNTERMODE_UP;
  htim1.Init.Period = 10000-1;
  htim1.Init.ClockDivision = TIM_CLOCKDIVISION_DIV2;
  htim1.Init.RepetitionCounter = 0;
  htim1.Init.AutoReloadPreload = TIM_AUTORELOAD_PRELOAD_DISABLE;
  if (HAL_TIM_Base_Init(&htim1) != HAL_OK)
  {
    Error_Handler();
  }
  sClockSourceConfig.ClockSource = TIM_CLOCKSOURCE_INTERNAL;
  if (HAL_TIM_ConfigClockSource(&htim1, &sClockSourceConfig) != HAL_OK)
  {
    Error_Handler();
  }
  sMasterConfig.MasterOutputTrigger = TIM_TRGO_RESET;
  sMasterConfig.MasterOutputTrigger2 = TIM_TRGO2_RESET;
  sMasterConfig.MasterSlaveMode = TIM_MASTERSLAVEMODE_DISABLE;
  if (HAL_TIMEx_MasterConfigSynchronization(&htim1, &sMasterConfig) != HAL_OK)
  {
    Error_Handler();
  }

}

static void MX_TIM2_Init(void)
{

  TIM_ClockConfigTypeDef sClockSourceConfig = {0};
  TIM_MasterConfigTypeDef sMasterConfig = {0};
  TIM_OC_InitTypeDef sConfigOC = {0};

  htim2.Instance = TIM2;
  htim2.Init.Prescaler = 108-1;
  htim2.Init.CounterMode = TIM_COUNTERMODE_UP;
  htim2.Init.Period = 1000-1;
  htim2.Init.ClockDivision = TIM_CLOCKDIVISION_DIV1;
  htim2.Init.AutoReloadPreload = TIM_AUTORELOAD_PRELOAD_DISABLE;
  if (HAL_TIM_Base_Init(&htim2) != HAL_OK)
  {
    Error_Handler();
  }
  sClockSourceConfig.ClockSource = TIM_CLOCKSOURCE_INTERNAL;
  if (HAL_TIM_ConfigClockSource(&htim2, &sClockSourceConfig) != HAL_OK)
  {
    Error_Handler();
  }
  if (HAL_TIM_PWM_Init(&htim2) != HAL_OK)
  {
    Error_Handler();
  }
  sMasterConfig.MasterOutputTrigger = TIM_TRGO_RESET;
  sMasterConfig.MasterSlaveMode = TIM_MASTERSLAVEMODE_DISABLE;
  if (HAL_TIMEx_MasterConfigSynchronization(&htim2, &sMasterConfig) != HAL_OK)
  {
    Error_Handler();
  }
  sConfigOC.OCMode = TIM_OCMODE_PWM1;
  sConfigOC.Pulse = 1000/4-1;
  sConfigOC.OCPolarity = TIM_OCPOLARITY_HIGH;
  sConfigOC.OCFastMode = TIM_OCFAST_DISABLE;
  if (HAL_TIM_PWM_ConfigChannel(&htim2, &sConfigOC, TIM_CHANNEL_1) != HAL_OK)
  {
    Error_Handler();
  }
  HAL_TIM_MspPostInit(&htim2);

}

static void MX_USART2_UART_Init(void)
{

  huart2.Instance = USART2;
  huart2.Init.BaudRate = 9600;
  huart2.Init.WordLength = UART_WORDLENGTH_8B;
  huart2.Init.StopBits = UART_STOPBITS_1;
  huart2.Init.Parity = UART_PARITY_NONE;
  huart2.Init.Mode = UART_MODE_TX_RX;
  huart2.Init.HwFlowCtl = UART_HWCONTROL_NONE;
  huart2.Init.OverSampling = UART_OVERSAMPLING_16;
  huart2.Init.OneBitSampling = UART_ONE_BIT_SAMPLE_DISABLE;
  huart2.AdvancedInit.AdvFeatureInit = UART_ADVFEATURE_NO_INIT;
  if (HAL_UART_Init(&huart2) != HAL_OK)
  {
    Error_Handler();
  }

}

static void MX_USART3_UART_Init(void)
{

  huart3.Instance = USART3;
  huart3.Init.BaudRate = 9600;
  huart3.Init.WordLength = UART_WORDLENGTH_8B;
  huart3.Init.StopBits = UART_STOPBITS_1;
  huart3.Init.Parity = UART_PARITY_NONE;
  huart3.Init.Mode = UART_MODE_TX_RX;
  huart3.Init.HwFlowCtl = UART_HWCONTROL_NONE;
  huart3.Init.OverSampling = UART_OVERSAMPLING_16;
  huart3.Init.OneBitSampling = UART_ONE_BIT_SAMPLE_DISABLE;
  huart3.AdvancedInit.AdvFeatureInit = UART_ADVFEATURE_NO_INIT;
  if (HAL_UART_Init(&huart3) != HAL_OK)
  {
    Error_Handler();
  }

}

static void MX_GPIO_Init(void)
{
  GPIO_InitTypeDef GPIO_InitStruct = {0};

  /* GPIO Ports Clock Enable */
  __HAL_RCC_GPIOE_CLK_ENABLE();
  __HAL_RCC_GPIOF_CLK_ENABLE();
  __HAL_RCC_GPIOC_CLK_ENABLE();
  __HAL_RCC_GPIOA_CLK_ENABLE();
  __HAL_RCC_GPIOB_CLK_ENABLE();
  __HAL_RCC_GPIOG_CLK_ENABLE();
  __HAL_RCC_GPIOD_CLK_ENABLE();

  /*Configure GPIO pin Output Level */
  HAL_GPIO_WritePin(GPIOE, T_CLK_Pin|T_MOSI_Pin|T_CS_Pin, GPIO_PIN_RESET);

  /*Configure GPIO pin Output Level */
  HAL_GPIO_WritePin(GPIOB, GPIO_PIN_0, GPIO_PIN_RESET);

  /*Configure GPIO pin Output Level */
  HAL_GPIO_WritePin(GPIOC, CS_Pin|DC_Pin|RST_Pin, GPIO_PIN_RESET);

  /*Configure GPIO pins : T_IRQ_Pin T_MISO_Pin */
  GPIO_InitStruct.Pin = T_IRQ_Pin|T_MISO_Pin;
  GPIO_InitStruct.Mode = GPIO_MODE_INPUT;
  GPIO_InitStruct.Pull = GPIO_NOPULL;
  HAL_GPIO_Init(GPIOE, &GPIO_InitStruct);

  /*Configure GPIO pins : T_CLK_Pin T_MOSI_Pin T_CS_Pin */
  GPIO_InitStruct.Pin = T_CLK_Pin|T_MOSI_Pin|T_CS_Pin;
  GPIO_InitStruct.Mode = GPIO_MODE_OUTPUT_PP;
  GPIO_InitStruct.Pull = GPIO_NOPULL;
  GPIO_InitStruct.Speed = GPIO_SPEED_FREQ_LOW;
  HAL_GPIO_Init(GPIOE, &GPIO_InitStruct);

  /*Configure GPIO pins : PF0 PF1 PF2 PF3
                           PF5 PF10 PF12 */
  GPIO_InitStruct.Pin = GPIO_PIN_0|GPIO_PIN_1|GPIO_PIN_2|GPIO_PIN_3
                          |GPIO_PIN_5|GPIO_PIN_10|GPIO_PIN_12;
  GPIO_InitStruct.Mode = GPIO_MODE_INPUT;
  GPIO_InitStruct.Pull = GPIO_NOPULL;
  HAL_GPIO_Init(GPIOF, &GPIO_InitStruct);

  /*Configure GPIO pins : PC0 PC3 PC6 PC7 */
  GPIO_InitStruct.Pin = GPIO_PIN_0|GPIO_PIN_3|GPIO_PIN_6|GPIO_PIN_7;
  GPIO_InitStruct.Mode = GPIO_MODE_INPUT;
  GPIO_InitStruct.Pull = GPIO_NOPULL;
  HAL_GPIO_Init(GPIOC, &GPIO_InitStruct);

  /*Configure GPIO pins : PA3 PA5 PA6 PA15 */
  GPIO_InitStruct.Pin = GPIO_PIN_3|GPIO_PIN_5|GPIO_PIN_6|GPIO_PIN_15;
  GPIO_InitStruct.Mode = GPIO_MODE_INPUT;
  GPIO_InitStruct.Pull = GPIO_NOPULL;
  HAL_GPIO_Init(GPIOA, &GPIO_InitStruct);

  /*Configure GPIO pin : PB0 */
  GPIO_InitStruct.Pin = GPIO_PIN_0;
  GPIO_InitStruct.Mode = GPIO_MODE_OUTPUT_PP;
  GPIO_InitStruct.Pull = GPIO_NOPULL;
  GPIO_InitStruct.Speed = GPIO_SPEED_FREQ_LOW;
  HAL_GPIO_Init(GPIOB, &GPIO_InitStruct);

  /*Configure GPIO pin : PG0 */
  GPIO_InitStruct.Pin = GPIO_PIN_0;
  GPIO_InitStruct.Mode = GPIO_MODE_INPUT;
  GPIO_InitStruct.Pull = GPIO_NOPULL;
  HAL_GPIO_Init(GPIOG, &GPIO_InitStruct);

  /*Configure GPIO pins : PB12 PB15 PB4 PB5
                           PB8 PB9 */
  GPIO_InitStruct.Pin = GPIO_PIN_12|GPIO_PIN_15|GPIO_PIN_4|GPIO_PIN_5
                          |GPIO_PIN_8|GPIO_PIN_9;
  GPIO_InitStruct.Mode = GPIO_MODE_INPUT;
  GPIO_InitStruct.Pull = GPIO_NOPULL;
  HAL_GPIO_Init(GPIOB, &GPIO_InitStruct);

  /*Configure GPIO pins : PD14 PD15 PD0 PD1 */
  GPIO_InitStruct.Pin = GPIO_PIN_14|GPIO_PIN_15|GPIO_PIN_0|GPIO_PIN_1;
  GPIO_InitStruct.Mode = GPIO_MODE_INPUT;
  GPIO_InitStruct.Pull = GPIO_NOPULL;
  HAL_GPIO_Init(GPIOD, &GPIO_InitStruct);

  /*Configure GPIO pins : CS_Pin DC_Pin RST_Pin */
  GPIO_InitStruct.Pin = CS_Pin|DC_Pin|RST_Pin;
  GPIO_InitStruct.Mode = GPIO_MODE_OUTPUT_PP;
  GPIO_InitStruct.Pull = GPIO_NOPULL;
  GPIO_InitStruct.Speed = GPIO_SPEED_FREQ_LOW;
  HAL_GPIO_Init(GPIOC, &GPIO_InitStruct);

}

 /* MPU Configuration */

void MPU_Config(void)
{
  MPU_Region_InitTypeDef MPU_InitStruct = {0};

  /* Disables the MPU */
  HAL_MPU_Disable();

  /** Initializes and configures the Region and the memory to be protected
  */
  MPU_InitStruct.Enable = MPU_REGION_ENABLE;
  MPU_InitStruct.Number = MPU_REGION_NUMBER0;
  MPU_InitStruct.BaseAddress = 0x0;
  MPU_InitStruct.Size = MPU_REGION_SIZE_4GB;
  MPU_InitStruct.SubRegionDisable = 0x87;
  MPU_InitStruct.TypeExtField = MPU_TEX_LEVEL0;
  MPU_InitStruct.AccessPermission = MPU_REGION_NO_ACCESS;
  MPU_InitStruct.DisableExec = MPU_INSTRUCTION_ACCESS_DISABLE;
  MPU_InitStruct.IsShareable = MPU_ACCESS_SHAREABLE;
  MPU_InitStruct.IsCacheable = MPU_ACCESS_NOT_CACHEABLE;
  MPU_InitStruct.IsBufferable = MPU_ACCESS_NOT_BUFFERABLE;

  HAL_MPU_ConfigRegion(&MPU_InitStruct);
  /* Enables the MPU */
  HAL_MPU_Enable(MPU_PRIVILEGED_DEFAULT);

}

void Error_Handler(void)
{
  __disable_irq();
  while (1)
  {
  }
}
